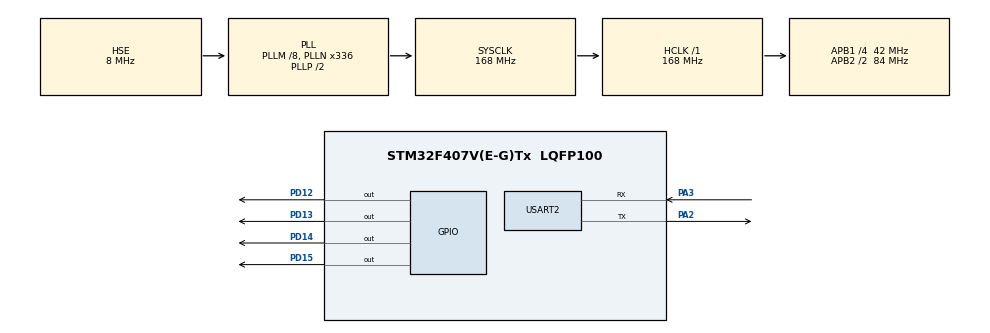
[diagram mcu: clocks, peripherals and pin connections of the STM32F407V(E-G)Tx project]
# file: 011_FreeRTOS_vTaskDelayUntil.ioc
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FREERTOS.Tasks01=defaultTask,24,128,StartDefaultTask,Default,NULL,Dynamic,NULL,NULL
Mcu.Family=STM32F4
Mcu.Name=STM32F407V(E-G)Tx
Mcu.Package=LQFP100
NVIC.PriorityGroup=NVIC_PRIORITYGROUP_4
NVIC.TIM8_TRG_COM_TIM14_IRQn=true\:15\:0\:false\:false\:true\:false\:false\:true\:true
NVIC.TimeBase=TIM8_TRG_COM_TIM14_IRQn
NVIC.TimeBaseIP=TIM14
NVIC.USART2_IRQn=true\:5\:0\:false\:false\:true\:true\:true\:true\:true
PA2.Mode=Asynchronous
PA2.Signal=USART2_TX
PA3.Mode=Asynchronous
PA3.Signal=USART2_RX
PD12.Signal=GPIO_Output
PD13.Signal=GPIO_Output
PD14.Signal=GPIO_Output
PD15.Signal=GPIO_Output
PH0-OSC_IN.Mode=HSE-External-Oscillator
PH0-OSC_IN.Signal=RCC_OSC_IN
PH1-OSC_OUT.Mode=HSE-External-Oscillator
PH1-OSC_OUT.Signal=RCC_OSC_OUT
ProjectManager.HeapSize=0x200
ProjectManager.StackSize=0x400
ProjectManager.TargetToolchain=STM32CubeIDE
RCC.48MHZClocksFreq_Value=48000000
RCC.AHBFreq_Value=168000000
RCC.APB1CLKDivider=RCC_HCLK_DIV4
RCC.APB1Freq_Value=42000000
RCC.APB1TimFreq_Value=84000000
RCC.APB2CLKDivider=RCC_HCLK_DIV2
RCC.APB2Freq_Value=84000000
RCC.APB2TimFreq_Value=168000000
RCC.CortexFreq_Value=168000000
RCC.HCLKFreq_Value=168000000
RCC.HSE_VALUE=8000000
RCC.HSI_VALUE=16000000
RCC.LSE_VALUE=32768
RCC.PLLM=8
RCC.PLLN=336
RCC.PLLQ=7
RCC.PLLSourceVirtual=RCC_PLLSOURCE_HSE
RCC.SYSCLKFreq_VALUE=168000000
RCC.SYSCLKSource=RCC_SYSCLKSOURCE_PLLCLK
RCC.VCOOutputFreq_Value=336000000
USART2.VirtualMode=VM_ASYNC
VP_FREERTOS_VS_CMSIS_V2.Mode=CMSIS_V2
VP_SYS_VS_tim14.Mode=TIM14
board=STM32F407G-DISC1

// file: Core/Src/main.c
/* USER CODE BEGIN Header */
/**
  ******************************************************************************
  * @file           : main.c
  * @brief          : Main program body
  ******************************************************************************
  * @attention
  *
  * Copyright (c) 2023 STMicroelectronics.
  * All rights reserved.
  *
  * This software is licensed under terms that can be found in the LICENSE file
  * in the root directory of this software component.
  * If no LICENSE file comes with this software, it is provided AS-IS.
  *
  ******************************************************************************
  */
/* USER CODE END Header */
#include "main.h"

/* USER CODE BEGIN Includes */
#include "FreeRTOS.h"
#include "task.h"
#include <string.h>
/* USER CODE END Includes */

UART_HandleTypeDef huart2;

/* Definitions for defaultTask */

void SystemClock_Config(void);
static void MX_GPIO_Init(void);
static void MX_USART2_UART_Init(void);

/* USER CODE BEGIN 0 */
void vTaskFunction(void *pvParameters)
{
	char *pcTaskName;
	TickType_t xLastWakeTime;
	pcTaskName = (char *)pvParameters;
	xLastWakeTime = xTaskGetTickCount();

	for(;;)
	{
		HAL_UART_Transmit(&huart2, (uint8_t *)pcTaskName, strlen(pcTaskName), HAL_MAX_DELAY);
		vTaskDelayUntil(&xLastWakeTime, pdMS_TO_TICKS(250));
	}
}
/* USER CODE END 0 */

int main(void)
{
  /* USER CODE BEGIN 1 */
  static const char *pcTextForTask1 = "Task 1 is running\r\n";
  static const char *pcTextForTask2 = "Task 2 is running\r\n";
  /* USER CODE END 1 */

  /* MCU Configuration--------------------------------------------------------*/

  /* Reset of all peripherals, Initializes the Flash interface and the Systick. */
  HAL_Init();

  /* Configure the system clock */
  SystemClock_Config();

  /* Initialize all configured peripherals */
  MX_GPIO_Init();
  MX_USART2_UART_Init();
  /* USER CODE BEGIN 2 */
  xTaskCreate(vTaskFunction, "Task1", 1000, (void *)pcTextForTask1, 1, NULL);
  xTaskCreate(vTaskFunction, "Task2", 1000, (void *)pcTextForTask2, 1, NULL);

  vTaskStartScheduler();
  /* USER CODE END 2 */

  /* Init scheduler */

  /* Create the thread(s) */
  /* creation of defaultTask */

  /* Start scheduler */

  /* We should never get here as control is now taken by the scheduler */
  /* Infinite loop */
  while (1)
  {

  }
}

void SystemClock_Config(void)
{
  RCC_OscInitTypeDef RCC_OscInitStruct = {0};
  RCC_ClkInitTypeDef RCC_ClkInitStruct = {0};

  /** Configure the main internal regulator output voltage
  */
  __HAL_RCC_PWR_CLK_ENABLE();
  __HAL_PWR_VOLTAGESCALING_CONFIG(PWR_REGULATOR_VOLTAGE_SCALE1);

  /** Initializes the RCC Oscillators according to the specified parameters
  * in the RCC_OscInitTypeDef structure.
  */
  RCC_OscInitStruct.OscillatorType = RCC_OSCILLATORTYPE_HSE;
  RCC_OscInitStruct.HSEState = RCC_HSE_ON;
  RCC_OscInitStruct.PLL.PLLState = RCC_PLL_ON;
  RCC_OscInitStruct.PLL.PLLSource = RCC_PLLSOURCE_HSE;
  RCC_OscInitStruct.PLL.PLLM = 8;
  RCC_OscInitStruct.PLL.PLLN = 336;
  RCC_OscInitStruct.PLL.PLLP = RCC_PLLP_DIV2;
  RCC_OscInitStruct.PLL.PLLQ = 7;
  if (HAL_RCC_OscConfig(&RCC_OscInitStruct) != HAL_OK)
  {
    Error_Handler();
  }

  /** Initializes the CPU, AHB and APB buses clocks
  */
  RCC_ClkInitStruct.ClockType = RCC_CLOCKTYPE_HCLK|RCC_CLOCKTYPE_SYSCLK
                              |RCC_CLOCKTYPE_PCLK1|RCC_CLOCKTYPE_PCLK2;
  RCC_ClkInitStruct.SYSCLKSource = RCC_SYSCLKSOURCE_PLLCLK;
  RCC_ClkInitStruct.AHBCLKDivider = RCC_SYSCLK_DIV1;
  RCC_ClkInitStruct.APB1CLKDivider = RCC_HCLK_DIV4;
  RCC_ClkInitStruct.APB2CLKDivider = RCC_HCLK_DIV2;

  if (HAL_RCC_ClockConfig(&RCC_ClkInitStruct, FLASH_LATENCY_5) != HAL_OK)
  {
    Error_Handler();
  }
}

static void MX_USART2_UART_Init(void)
{

  huart2.Instance = USART2;
  huart2.Init.BaudRate = 115200;
  huart2.Init.WordLength = UART_WORDLENGTH_8B;
  huart2.Init.StopBits = UART_STOPBITS_1;
  huart2.Init.Parity = UART_PARITY_NONE;
  huart2.Init.Mode = UART_MODE_TX_RX;
  huart2.Init.HwFlowCtl = UART_HWCONTROL_NONE;
  huart2.Init.OverSampling = UART_OVERSAMPLING_16;
  if (HAL_UART_Init(&huart2) != HAL_OK)
  {
    Error_Handler();
  }

}

static void MX_GPIO_Init(void)
{
  GPIO_InitTypeDef GPIO_InitStruct = {0};

  /* GPIO Ports Clock Enable */
  __HAL_RCC_GPIOH_CLK_ENABLE();
  __HAL_RCC_GPIOA_CLK_ENABLE();
  __HAL_RCC_GPIOD_CLK_ENABLE();

  /*Configure GPIO pin Output Level */
  HAL_GPIO_WritePin(GPIOD, GPIO_PIN_12|GPIO_PIN_13|GPIO_PIN_14|GPIO_PIN_15, GPIO_PIN_RESET);

  /*Configure GPIO pins : PD12 PD13 PD14 PD15 */
  GPIO_InitStruct.Pin = GPIO_PIN_12|GPIO_PIN_13|GPIO_PIN_14|GPIO_PIN_15;
  GPIO_InitStruct.Mode = GPIO_MODE_OUTPUT_PP;
  GPIO_InitStruct.Pull = GPIO_NOPULL;
  GPIO_InitStruct.Speed = GPIO_SPEED_FREQ_LOW;
  HAL_GPIO_Init(GPIOD, &GPIO_InitStruct);

}

void HAL_TIM_PeriodElapsedCallback(TIM_HandleTypeDef *htim)
{
  if (htim->Instance == TIM14) {
    HAL_IncTick();
  }
}

void Error_Handler(void)
{
  __disable_irq();
  while (1)
  {
  }
}
